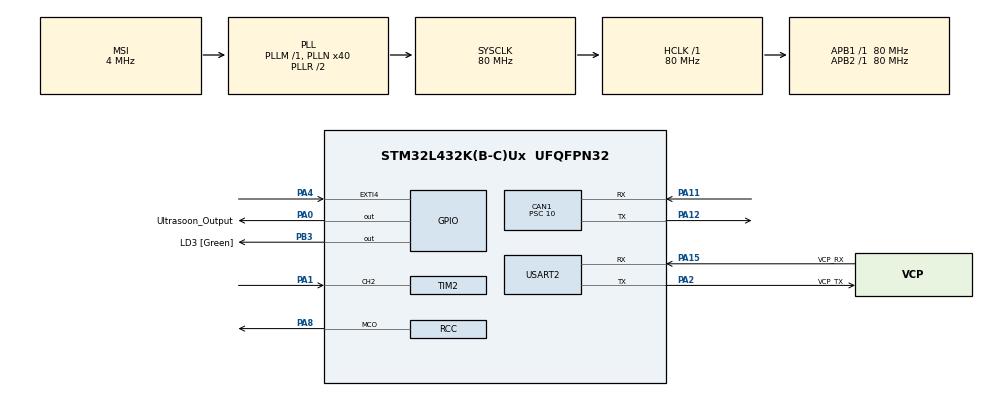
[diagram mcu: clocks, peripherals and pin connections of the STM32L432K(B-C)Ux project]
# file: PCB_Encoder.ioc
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CAN1.BS1=CAN_BS1_13TQ
CAN1.BS2=CAN_BS2_2TQ
CAN1.CalculateBaudRate=500000
CAN1.CalculateTimeBit=2000
CAN1.CalculateTimeQuantum=125.0
CAN1.Prescaler=10
CAN1.SJW=CAN_SJW_1TQ
Mcu.Family=STM32L4
Mcu.Name=STM32L432K(B-C)Ux
Mcu.Package=UFQFPN32
NVIC.CAN1_RX0_IRQn=true\:0\:0\:false\:false\:true\:true\:true\:true
NVIC.CAN1_RX1_IRQn=true\:0\:0\:false\:false\:true\:true\:true\:true
NVIC.PriorityGroup=NVIC_PRIORITYGROUP_4
NVIC.TIM2_IRQn=true\:0\:0\:false\:false\:true\:true\:true\:true
PA0.GPIO_Label=Ultrasoon_Output
PA0.Signal=GPIO_Output
PA1.Signal=S_TIM2_CH2
PA11.GPIO_PuPd=GPIO_PULLUP
PA11.Mode=CAN_Activate
PA11.Signal=CAN1_RX
PA12.Mode=CAN_Activate
PA12.Signal=CAN1_TX
PA13\ (JTMS-SWDIO).GPIO_Label=SWDIO
PA13\ (JTMS-SWDIO).Mode=Serial_Wire
PA13\ (JTMS-SWDIO).Signal=SYS_JTMS-SWDIO
PA14\ (JTCK-SWCLK).GPIO_Label=SWCLK
PA14\ (JTCK-SWCLK).Mode=Serial_Wire
PA14\ (JTCK-SWCLK).Signal=SYS_JTCK-SWCLK
PA15\ (JTDI).GPIO_Label=VCP_RX
PA15\ (JTDI).Mode=Asynchronous
PA15\ (JTDI).Signal=USART2_RX
PA2.GPIO_Label=VCP_TX
PA2.Mode=Asynchronous
PA2.Signal=USART2_TX
PA4.Signal=GPXTI4
PA8.Mode=Clock-out
PA8.Signal=RCC_MCO
PB3\ (JTDO-TRACESWO).GPIO_Label=LD3 [Green]
PB3\ (JTDO-TRACESWO).Signal=GPIO_Output
PC14-OSC32_IN\ (PC14).Mode=LSE-External-Oscillator
PC14-OSC32_IN\ (PC14).Signal=RCC_OSC32_IN
PC15-OSC32_OUT\ (PC15).Mode=LSE-External-Oscillator
PC15-OSC32_OUT\ (PC15).Signal=RCC_OSC32_OUT
ProjectManager.HeapSize=0x200
ProjectManager.StackSize=0x400
ProjectManager.TargetToolchain=STM32CubeIDE
RCC.AHBFreq_Value=80000000
RCC.APB1Freq_Value=80000000
RCC.APB1TimFreq_Value=80000000
RCC.APB2Freq_Value=80000000
RCC.APB2TimFreq_Value=80000000
RCC.CortexFreq_Value=80000000
RCC.HCLKFreq_Value=80000000
RCC.HSE_VALUE=8000000
RCC.HSI16_VALUE=16000000
RCC.HSI48_VALUE=48000000
RCC.HSI_VALUE=16000000
RCC.MSI_VALUE=4000000
RCC.PLLMUL=RCC_PLLMUL_4
RCC.PLLN=40
RCC.SYSCLKFreq_VALUE=80000000
RCC.SYSCLKSource=RCC_SYSCLKSOURCE_PLLCLK
RCC.VCOOutputFreq_Value=160000000
SH.S_TIM2_CH2.0=TIM2_CH2,Input_Capture2_from_TI2
TIM2.Channel-Input_Capture2_from_TI2=TIM_CHANNEL_2
TIM2.Period=0xffff-1
TIM2.Prescaler=80-1
USART2.VirtualMode-Asynchronous=VM_ASYNC
VP_TIM2_VS_ClockSourceINT.Mode=Internal
board=NUCLEO-L432KC

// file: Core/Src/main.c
/* USER CODE BEGIN Header */
/**
  ******************************************************************************
  * @file           : main.c
  * @brief          : Main program body
  ******************************************************************************
  */
/* USER CODE END Header */
#include "main.h"

/* USER CODE BEGIN Includes */
#include <string.h>
#include <stdio.h>
/* USER CODE END Includes */

/* USER CODE BEGIN PD */
#define CAN_ID_DISTANCE_SENSOR   0x102
#define CAN_ID_SENSOR_REQUEST    0x300

#define CAN_ID_BRAND_ALARM        0x10
/* USER CODE END PD */

CAN_HandleTypeDef hcan1;

TIM_HandleTypeDef htim2;

UART_HandleTypeDef huart2;

/* USER CODE BEGIN PV */
CAN_TxHeaderTypeDef TxHeader;
CAN_RxHeaderTypeDef RxHeader;
uint8_t             TxData[8];
uint8_t             RxData[8];
uint32_t            TxMailbox;

volatile uint8_t last_source = 0;

volatile uint8_t readDistance = 0;

volatile uint8_t knopIngedrukt = 0;
volatile uint8_t brandActief = 0;
/* USER CODE END PV */

void SystemClock_Config(void);
static void MX_GPIO_Init(void);
static void MX_CAN1_Init(void);
static void MX_USART2_UART_Init(void);
static void MX_TIM2_Init(void);
/* USER CODE BEGIN PFP */
void sendBrandAlarm(uint8_t);
/* USER CODE END PFP */

/* USER CODE BEGIN 0 */

// BRON -> https://www.youtube.com/watch?v=ti_1ZwRolU4
/**
 * @brief Vertraging genereren via de tellerstand van timer 2.
 *
 * @param time De gewenste vertraging.
 */
void delay (uint16_t time){
	__HAL_TIM_SET_COUNTER(&htim2, 0);
	while (__HAL_TIM_GET_COUNTER (&htim2) < time);
}

uint32_t IC_Val1 = 0;
uint32_t IC_Val2 = 0;
uint32_t Difference = 0;
uint8_t Is_First_Captured = 0;
uint32_t Distance = 0;

/**
 * @brief Afstand tot een object berekenen met de ultrasone sensor, door via Input Capture op channel 2 de pulsduur van het echosignaal te berekenen.
 *
 * @param htim Hij krijgt de timer mee als pointer.
 */
void HAL_TIM_IC_CaptureCallback(TIM_HandleTypeDef *htim)
{
	if (htim->Channel == HAL_TIM_ACTIVE_CHANNEL_2)  // if the interrupt source is channel1
	{
		if (Is_First_Captured==0) // if the first value is not captured
		{
			IC_Val1 = HAL_TIM_ReadCapturedValue(htim, TIM_CHANNEL_2); // read the first value
			Is_First_Captured = 1;  // set the first captured as true
			// Now change the polarity to falling edge
			__HAL_TIM_SET_CAPTUREPOLARITY(htim, TIM_CHANNEL_2, TIM_INPUTCHANNELPOLARITY_FALLING);
		}

		else if (Is_First_Captured==1)   // if the first is already captured
		{
			IC_Val2 = HAL_TIM_ReadCapturedValue(htim, TIM_CHANNEL_2);  // read second value
			__HAL_TIM_SET_COUNTER(htim, 0);  // reset the counter

			if (IC_Val2 > IC_Val1)
			{
				Difference = IC_Val2-IC_Val1;
			}

			else if (IC_Val1 > IC_Val2)
			{
				Difference = (0xffff - IC_Val1) + IC_Val2;
			}

			Distance = Difference * .034/2;
			Is_First_Captured = 0; // set it back to false

			// set polarity to rising edge
			__HAL_TIM_SET_CAPTUREPOLARITY(htim, TIM_CHANNEL_2, TIM_INPUTCHANNELPOLARITY_RISING);
			__HAL_TIM_DISABLE_IT(&htim2, TIM_IT_CC2);
		}
	}
}
/**
 * @brief Een afstandsmeting voor de ultrasone sensor opstarten via een triggerpulse.
 *
 */
void HCSR04_Read (void)
{
	HAL_GPIO_WritePin(GPIOA, Ultrasoon_Output_Pin, GPIO_PIN_SET);  // pull the TRIG pin HIGH
	delay(10);  // wait for 10 us
	HAL_GPIO_WritePin(GPIOA, Ultrasoon_Output_Pin, GPIO_PIN_RESET);  // pull the TRIG pin low

	__HAL_TIM_ENABLE_IT(&htim2, TIM_IT_CC2);
}
/* USER CODE END 0 */

int main(void)
{

  /* MCU Configuration--------------------------------------------------------*/

  /* Reset of all peripherals, Initializes the Flash interface and the Systick. */
  HAL_Init();

  /* Configure the system clock */
  SystemClock_Config();

  /* Initialize all configured peripherals */
  MX_GPIO_Init();
  MX_CAN1_Init();
  MX_USART2_UART_Init();
  MX_TIM2_Init();
  /* USER CODE BEGIN 2 */
  CAN_FilterTypeDef  sFilterConfig;

  // Configure Filter: Accept ALL messages (Mask 0)
  sFilterConfig.FilterBank = 0;
  sFilterConfig.FilterMode = CAN_FILTERMODE_IDMASK;
  sFilterConfig.FilterScale = CAN_FILTERSCALE_32BIT;
  sFilterConfig.FilterIdHigh = 0xffff;
  sFilterConfig.FilterIdLow = 0xffff;
  sFilterConfig.FilterMaskIdHigh = 0xffff;
  sFilterConfig.FilterMaskIdLow = 0xffff;
  sFilterConfig.FilterFIFOAssignment = CAN_RX_FIFO0;
  sFilterConfig.FilterActivation = ENABLE;
  sFilterConfig.SlaveStartFilterBank = 14;

  if (HAL_CAN_ConfigFilter(&hcan1, &sFilterConfig) != HAL_OK) {
	  Error_Handler();
  }

  // Start the CAN peripheral
  if (HAL_CAN_Start(&hcan1) != HAL_OK) {
	  Error_Handler();
  }

  // Activate the Notification (Interrupt) for incoming messages
  if (HAL_CAN_ActivateNotification(&hcan1, CAN_IT_RX_FIFO0_MSG_PENDING) != HAL_OK) {
	  Error_Handler();
  }

  // Startup message
  char boot_msg[] = "\r\n\r\n--- STM32 MATRIX PCB RUNNING ---\r\n";
  HAL_UART_Transmit(&huart2, (uint8_t*)boot_msg, strlen(boot_msg), 1000);

  HAL_TIM_Base_Start(&htim2);
  HAL_TIM_Base_Start_IT(&htim2);
  HAL_TIM_IC_Start_IT(&htim2, TIM_CHANNEL_2);

  HAL_Delay(2000);
  /* USER CODE END 2 */

  /* Infinite loop */
while (1)
  {

    /* USER CODE BEGIN 3 */
	 // Local Troubleshooting code, print distance and timer value at serial
	  char msg[25];
	  sprintf(msg, "Afstand: %d cm\r\n", Distance);
	  HAL_UART_Transmit(&huart2, (uint8_t*)msg, strlen(msg), 100);

	  transmitDistance();

	  if (knopIngedrukt)
	  	{
		  brandActief = !brandActief; //Toggle de brandstatus aan de hand van elke button press.
		  sendBrandAlarm(brandActief);//Voor het versturen van een CAN bericht bij het indrukken van de knop, die als parameter meegaat.
		  char buffer[50];

		  if(brandActief) //Berichten die het visueel maken op bijvoorbeeld PuTTY.
			  sprintf(buffer, "Knop ingedrukt, er is brand gemeld. \r\n");
		  else
			  sprintf(buffer, "Knop ingedrukt, brandstatus opgeheven. \r\n");

		  HAL_UART_Transmit(&huart2, (uint8_t*)buffer, strlen(buffer), 100); //Verstuur de nieuwe brandstatus.
	  	  knopIngedrukt = 0; //Reset de knop input als de informatie verwerkt is.
	  	}

	  HAL_Delay(50);
  }
  /* USER CODE END 3 */
}

void SystemClock_Config(void)
{
  RCC_OscInitTypeDef RCC_OscInitStruct = {0};
  RCC_ClkInitTypeDef RCC_ClkInitStruct = {0};

  /** Configure the main internal regulator output voltage
  */
  if (HAL_PWREx_ControlVoltageScaling(PWR_REGULATOR_VOLTAGE_SCALE1) != HAL_OK)
  {
    Error_Handler();
  }

  /** Configure LSE Drive Capability
  */
  HAL_PWR_EnableBkUpAccess();
  __HAL_RCC_LSEDRIVE_CONFIG(RCC_LSEDRIVE_LOW);

  /** Initializes the RCC Oscillators according to the specified parameters
  * in the RCC_OscInitTypeDef structure.
  */
  RCC_OscInitStruct.OscillatorType = RCC_OSCILLATORTYPE_LSE|RCC_OSCILLATORTYPE_MSI;
  RCC_OscInitStruct.LSEState = RCC_LSE_ON;
  RCC_OscInitStruct.MSIState = RCC_MSI_ON;
  RCC_OscInitStruct.MSICalibrationValue = 0;
  RCC_OscInitStruct.MSIClockRange = RCC_MSIRANGE_6;
  RCC_OscInitStruct.PLL.PLLState = RCC_PLL_ON;
  RCC_OscInitStruct.PLL.PLLSource = RCC_PLLSOURCE_MSI;
  RCC_OscInitStruct.PLL.PLLM = 1;
  RCC_OscInitStruct.PLL.PLLN = 40;
  RCC_OscInitStruct.PLL.PLLP = RCC_PLLP_DIV7;
  RCC_OscInitStruct.PLL.PLLQ = RCC_PLLQ_DIV2;
  RCC_OscInitStruct.PLL.PLLR = RCC_PLLR_DIV2;
  if (HAL_RCC_OscConfig(&RCC_OscInitStruct) != HAL_OK)
  {
    Error_Handler();
  }

  /** Initializes the CPU, AHB and APB buses clocks
  */
  RCC_ClkInitStruct.ClockType = RCC_CLOCKTYPE_HCLK|RCC_CLOCKTYPE_SYSCLK
                              |RCC_CLOCKTYPE_PCLK1|RCC_CLOCKTYPE_PCLK2;
  RCC_ClkInitStruct.SYSCLKSource = RCC_SYSCLKSOURCE_PLLCLK;
  RCC_ClkInitStruct.AHBCLKDivider = RCC_SYSCLK_DIV1;
  RCC_ClkInitStruct.APB1CLKDivider = RCC_HCLK_DIV1;
  RCC_ClkInitStruct.APB2CLKDivider = RCC_HCLK_DIV1;

  if (HAL_RCC_ClockConfig(&RCC_ClkInitStruct, FLASH_LATENCY_4) != HAL_OK)
  {
    Error_Handler();
  }
  HAL_RCC_MCOConfig(RCC_MCO1, RCC_MCO1SOURCE_SYSCLK, RCC_MCODIV_1);

  /** Enable MSI Auto calibration
  */
  HAL_RCCEx_EnableMSIPLLMode();
}

static void MX_CAN1_Init(void)
{

  hcan1.Instance = CAN1;
  hcan1.Init.Prescaler = 10;
  hcan1.Init.Mode = CAN_MODE_NORMAL;
  hcan1.Init.SyncJumpWidth = CAN_SJW_1TQ;
  hcan1.Init.TimeSeg1 = CAN_BS1_13TQ;
  hcan1.Init.TimeSeg2 = CAN_BS2_2TQ;
  hcan1.Init.TimeTriggeredMode = DISABLE;
  hcan1.Init.AutoBusOff = DISABLE;
  hcan1.Init.AutoWakeUp = DISABLE;
  hcan1.Init.AutoRetransmission = DISABLE;
  hcan1.Init.ReceiveFifoLocked = DISABLE;
  hcan1.Init.TransmitFifoPriority = DISABLE;
  if (HAL_CAN_Init(&hcan1) != HAL_OK)
  {
    Error_Handler();
  }

}

static void MX_TIM2_Init(void)
{

  TIM_ClockConfigTypeDef sClockSourceConfig = {0};
  TIM_MasterConfigTypeDef sMasterConfig = {0};
  TIM_IC_InitTypeDef sConfigIC = {0};

  htim2.Instance = TIM2;
  htim2.Init.Prescaler = 80-1;
  htim2.Init.CounterMode = TIM_COUNTERMODE_UP;
  htim2.Init.Period = 0xffff-1;
  htim2.Init.ClockDivision = TIM_CLOCKDIVISION_DIV1;
  htim2.Init.AutoReloadPreload = TIM_AUTORELOAD_PRELOAD_DISABLE;
  if (HAL_TIM_Base_Init(&htim2) != HAL_OK)
  {
    Error_Handler();
  }
  sClockSourceConfig.ClockSource = TIM_CLOCKSOURCE_INTERNAL;
  if (HAL_TIM_ConfigClockSource(&htim2, &sClockSourceConfig) != HAL_OK)
  {
    Error_Handler();
  }
  if (HAL_TIM_IC_Init(&htim2) != HAL_OK)
  {
    Error_Handler();
  }
  sMasterConfig.MasterOutputTrigger = TIM_TRGO_RESET;
  sMasterConfig.MasterSlaveMode = TIM_MASTERSLAVEMODE_DISABLE;
  if (HAL_TIMEx_MasterConfigSynchronization(&htim2, &sMasterConfig) != HAL_OK)
  {
    Error_Handler();
  }
  sConfigIC.ICPolarity = TIM_INPUTCHANNELPOLARITY_RISING;
  sConfigIC.ICSelection = TIM_ICSELECTION_DIRECTTI;
  sConfigIC.ICPrescaler = TIM_ICPSC_DIV1;
  sConfigIC.ICFilter = 0;
  if (HAL_TIM_IC_ConfigChannel(&htim2, &sConfigIC, TIM_CHANNEL_2) != HAL_OK)
  {
    Error_Handler();
  }

}

static void MX_USART2_UART_Init(void)
{

  huart2.Instance = USART2;
  huart2.Init.BaudRate = 115200;
  huart2.Init.WordLength = UART_WORDLENGTH_8B;
  huart2.Init.StopBits = UART_STOPBITS_1;
  huart2.Init.Parity = UART_PARITY_NONE;
  huart2.Init.Mode = UART_MODE_TX_RX;
  huart2.Init.HwFlowCtl = UART_HWCONTROL_NONE;
  huart2.Init.OverSampling = UART_OVERSAMPLING_16;
  huart2.Init.OneBitSampling = UART_ONE_BIT_SAMPLE_DISABLE;
  huart2.AdvancedInit.AdvFeatureInit = UART_ADVFEATURE_NO_INIT;
  if (HAL_UART_Init(&huart2) != HAL_OK)
  {
    Error_Handler();
  }

}

static void MX_GPIO_Init(void)
{
  GPIO_InitTypeDef GPIO_InitStruct = {0};

  /* GPIO Ports Clock Enable */
  __HAL_RCC_GPIOC_CLK_ENABLE();
  __HAL_RCC_GPIOA_CLK_ENABLE();
  __HAL_RCC_GPIOB_CLK_ENABLE();

  /*Configure GPIO pin Output Level */
  HAL_GPIO_WritePin(Ultrasoon_Output_GPIO_Port, Ultrasoon_Output_Pin, GPIO_PIN_RESET);

  /*Configure GPIO pin Output Level */
  HAL_GPIO_WritePin(LD3_GPIO_Port, LD3_Pin, GPIO_PIN_RESET);

  /*Configure GPIO pin : Ultrasoon_Output_Pin */
  GPIO_InitStruct.Pin = Ultrasoon_Output_Pin;
  GPIO_InitStruct.Mode = GPIO_MODE_OUTPUT_PP;
  GPIO_InitStruct.Pull = GPIO_NOPULL;
  GPIO_InitStruct.Speed = GPIO_SPEED_FREQ_LOW;
  HAL_GPIO_Init(Ultrasoon_Output_GPIO_Port, &GPIO_InitStruct);

  /*Configure GPIO pin : PA4 */ //Knop pin.
  GPIO_InitStruct.Pin = GPIO_PIN_4;
  GPIO_InitStruct.Mode = GPIO_MODE_IT_FALLING;
  GPIO_InitStruct.Pull = GPIO_PULLUP;
  HAL_GPIO_Init(GPIOA, &GPIO_InitStruct);

  /*Configure GPIO pin : PA8 */
  GPIO_InitStruct.Pin = GPIO_PIN_8;
  GPIO_InitStruct.Mode = GPIO_MODE_AF_PP;
  GPIO_InitStruct.Pull = GPIO_NOPULL;
  GPIO_InitStruct.Speed = GPIO_SPEED_FREQ_LOW;
  GPIO_InitStruct.Alternate = GPIO_AF0_MCO;
  HAL_GPIO_Init(GPIOA, &GPIO_InitStruct);

  /*Configure GPIO pin : LD3_Pin */
  GPIO_InitStruct.Pin = LD3_Pin;
  GPIO_InitStruct.Mode = GPIO_MODE_OUTPUT_PP;
  GPIO_InitStruct.Pull = GPIO_NOPULL;
  GPIO_InitStruct.Speed = GPIO_SPEED_FREQ_LOW;
  HAL_GPIO_Init(LD3_GPIO_Port, &GPIO_InitStruct);

  /* EXTI interrupt init*/
  HAL_NVIC_SetPriority(EXTI4_IRQn, 0, 0);
  HAL_NVIC_EnableIRQ(EXTI4_IRQn);

}

/* USER CODE BEGIN 4 */

// This function runs automatically whenever a CAN message arrives
/**
 * @brief Callback functie die automatisch wordt geactiveerd bij elk nieuw binnenkomend CAN bericht.
 *
 * @param hcan Pointer naar een CAN_HandleTypeDef structuur, die de informatie van de configuratie van de CAN bus bevat.
 */
void HAL_CAN_RxFifo0MsgPendingCallback(CAN_HandleTypeDef *hcan) {
	// Needs a funtion to respond to requests!
    //Mag leeg blijven, want de encoder hoeft op niks te reageren.
}

/**
 * @brief Triggert een ultrasone meting en verzendt de afstand via de CAN bus.
 *  (ID is van CAN_ID_DISTANCE_SENSOR).
 *  Wordt alleen verzonden als de waarde meer dan 10 cm is veranderd t.o.v. de vorige meting.
 */
void transmitDistance(){
	static uint16_t lastDistance = 0;

	HCSR04_Read();
	HAL_Delay(50);

	uint16_t newDistance = Distance;

	if (abs((int)newDistance - (int)lastDistance) > 10){
		TxHeader.StdId = CAN_ID_DISTANCE_SENSOR;
	    TxHeader.IDE   = CAN_ID_STD;
	    TxHeader.RTR   = CAN_RTR_DATA;
	    TxHeader.DLC   = 2;

	    TxData[0] = (newDistance >> 8) & 0xFF;
	    TxData[1] = newDistance & 0xFF;

	    HAL_CAN_AddTxMessage(&hcan1, &TxHeader, TxData, &TxMailbox);

	    lastDistance = newDistance;
	}
}

/**
 * @brief O.b.v. debouncing en het indrukken van de brandknop, de knopindruk registreren.
 *
 * @param GPIO_Pin De overeenkomende pin voor de brandknop.
 */
void HAL_GPIO_EXTI_Callback(uint16_t GPIO_Pin)
{
    //Anti debouncing.
    static uint32_t lastButtonPress = 0;
    uint32_t rightNow = HAL_GetTick(); //GetTick() haalt het aantal milliseconden op since startup of reset.
    uint32_t tijdInterval = 200;

    if (GPIO_Pin == GPIO_PIN_4 && (rightNow - lastButtonPress) > tijdInterval) //PB indrukken voor de knop en als de debounce tijd buiten de gestelde interval valt.
    {
    	knopIngedrukt = 1; //Knop is daadwerkelijk ingedrukt.
        lastButtonPress = rightNow; //Verzet de aanroep.
    }
}
/**
 * @brief Het opmaken en verzenden van het bericht voor het brandalarm.
 *
 * @param brandStatus Of een 0 of een 1, afkomstig van brandActief uit de while loop.
 */
void sendBrandAlarm(uint8_t brandStatus)
{
	TxHeader.StdId = CAN_ID_BRAND_ALARM; //Het ID van de sensor dat verantwoordelijk wordt voor registeren van brand.
	TxHeader.IDE = CAN_ID_STD; //Constante.
	TxHeader.RTR = CAN_RTR_DATA; //Constante
	TxHeader.DLC = 1; //Het aantal databits dat verzonden wordt.

	TxData[0] = brandStatus;  //Data met waarde voor registratie van brand, adhv of een 0 of 1 als parameter meegegeven is.

	HAL_CAN_AddTxMessage(&hcan1, &TxHeader, TxData,  &TxMailbox); // Versturen van dat er brand geregistreerd is.
}
/* USER CODE END 4 */

void Error_Handler(void)
{
  __disable_irq();
  while (1)
  {
  }
}
